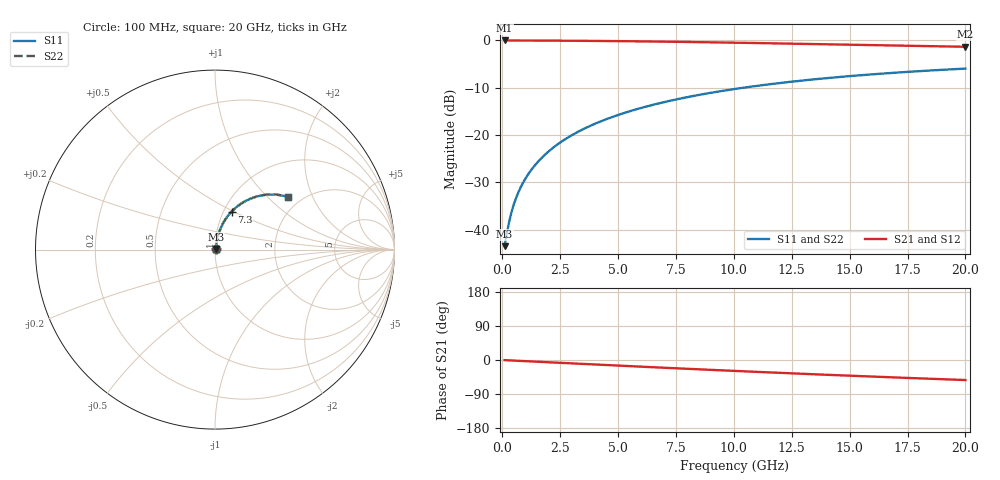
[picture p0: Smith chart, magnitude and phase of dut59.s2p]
! Touchstone file exported from HFSS 2026.1.0
!  File:  C:/ffzhzh/LocalFiles/Ansys_Project_Files/temp_train_TMRDL_59_1782881001_13352.aedt
!  Generated:  12:44:40 PM Jul  1, 2026
!  Design:  TMRDL
!  Project:  temp_train_TMRDL_59_1782881001_13352
! Variables:
!  h_bsmrdl = 2um
!  h_ox = 20um
!  h_rdl = 5um
!  h_sub = 80um
!  h_tmrdl = 2.41um
!  h_tsv = 80um
!  h_via = 3um
!  l_bsmrdl = 300um
!  l_sub = 1170.82um
!  l_tmrdl = 770.82um
!  m_sub = 200um
!  pitch = 52.15um
!  r_tsv = 6um
!  s_tmrdl = 10um
!  w_bsmrdl = 18um
!  w_sub = 500um
!  w_tmrdl = 20.82um
!  x_tsv_center1 = 781.23um
!  x_tsv_center2 = 1099.23um
!  x_tsv_center3 = 1890.87um
!  x_tsv_center4 = 2208.87um
!  x_tsv_center5 = 3000.51um
!  x_tsv_center6 = 3318.51um
# GHz S MA R 50.000000
! Terminal data exported
! Port[1] = TM_RDL1_1_T1
! Port[2] = TM_RDL1_1_T2
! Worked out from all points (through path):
!   200 points, 100 MHz to 20 GHz, reference 50 ohm
!   highest |S21| = -0.05 dB at 100 MHz (marker M1); lowest = -1.4 dB at 20 GHz (marker M2)
!   group delay of S21, straight-line fit = 7.37 ps
!   lowest |S11| = -43.5 dB at 100 MHz (marker M3), VSWR 1.01, Z = 50.6 + j0.362 ohm
!   |S11| at or under -10 dB: start of sweep to 10.46 GHz
!   |S22| runs from -43.5 to -6.0 dB; largest |S21 - S12| = 2.7e-15
!   S11 on the Smith chart (normalised r, x): 100 MHz: 1.01, +0.01; 7.3 GHz: 1.09, +0.49; 20 GHz: 1.71, +1.34
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0.1  0.006692 32.3  0.9944 -0.3  0.9944 -0.3  0.006692 32.3
! Gamma 0 0 0 0
! Port Impedance 50 0 50 0
0.2  0.0092 50.6  0.9942 -0.6  0.9942 -0.6  0.0092 50.6
0.3  0.01221 60.0  0.994 -0.9  0.994 -0.9  0.01221 60.0
0.4  0.01537 65.3  0.9938 -1.2  0.9938 -1.2  0.01537 65.3
0.5  0.01857 68.6  0.9935 -1.5  0.9935 -1.5  0.01857 68.6
0.6  0.02178 70.9  0.9933 -1.8  0.9933 -1.8  0.02178 70.9
0.8  0.0282 73.7  0.9929 -2.4  0.9929 -2.4  0.0282 73.7
1.1  0.03786 76.0  0.9923 -3.3  0.9923 -3.3  0.03785 76.0
1.3  0.04431 76.8  0.9919 -3.9  0.9919 -3.9  0.04431 76.8
1.6  0.05402 77.5  0.9913 -4.8  0.9913 -4.8  0.05401 77.5
2.1  0.07022 77.7  0.9902 -6.3  0.9902 -6.3  0.07022 77.7
2.7  0.08962 77.1  0.9885 -8.1  0.9885 -8.1  0.08962 77.1
3.5  0.1153 75.7  0.9856 -10.4  0.9856 -10.4  0.1153 75.7
4.2  0.1375 74.2  0.9826 -12.5  0.9826 -12.5  0.1375 74.2
5  0.1624 72.3  0.9785 -14.8  0.9785 -14.8  0.1624 72.3
6.8  0.2166 67.7  0.9674 -19.9  0.9674 -19.9  0.2166 67.7
7.3  0.2311 66.4  0.9639 -21.3  0.9639 -21.3  0.2311 66.4
8.6  0.2675 63.0  0.954 -24.9  0.954 -24.9  0.2675 63.0
10.1  0.3072 59.1  0.9415 -29.0  0.9415 -29.0  0.3072 59.1
13.4  0.3849 50.8  0.9117 -37.5  0.9117 -37.5  0.3849 50.9
16.7  0.4496 43.0  0.8813 -45.5  0.8813 -45.5  0.4495 43.1
20  0.5018 35.7  0.8525 -52.9  0.8525 -52.9  0.5018 35.8
